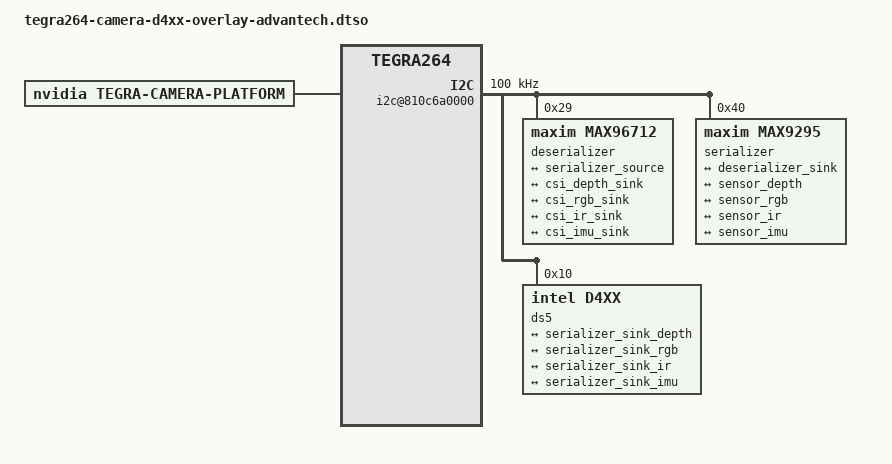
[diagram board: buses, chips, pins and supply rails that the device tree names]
// SPDX-License-Identifier: GPL-2.0-only
// SPDX-FileCopyrightText: Copyright (c) 2018-2023, INTEL CORPORATION.  All rights reserved.

/dts-v1/;
/plugin/;

#include <dt-bindings/gpio/tegra264-gpio.h>

/* camera control gpio definitions */
/ {
	overlay-name = "Jetson RealSense Camera D4xx with max96712 Advantech for Thor";
	jetson-header-name = "Jetson AGX CSI Connector";
	compatible = "nvidia,p4071-0000+p3834-0008", "nvidia,p3834-0008", "nvidia,tegra264";

	fragment@0 {
		target-path = "/";
		__overlay__ {
			tegra-capture-vi {
				ports {
					status = "okay";
					#address-cells = <1>;
					#size-cells = <0>;
					port@0 {
						reg = <0>;
						tegra_vi_depth: endpoint {
							port-index = <0>;
							vc-id = <0>;
							bus-width = <2>;
							remote-endpoint = <&csi_depth_source>;
						};
					};
					port@1 {
						reg = <1>;
						tegra_vi_rgb: endpoint {
							port-index = <1>;
							vc-id = <1>;
							bus-width = <2>;
							remote-endpoint = <&csi_rgb_source>;
						};
					};
					port@2 {
						reg = <2>;
						tegra_vi_ir: endpoint {
							port-index = <2>;
							vc-id = <2>;
							bus-width = <2>;
							remote-endpoint = <&csi_ir_source>;
						};
					};
					port@3 {
						reg = <3>;
						tegra_vi_imu: endpoint {
							port-index = <3>;
							vc-id = <3>;
							bus-width = <2>;
							remote-endpoint = <&csi_imu_source>;
						};
					};
				};
			};

			tegra-camera-platform {
				compatible = "nvidia, tegra-camera-platform";
				status = "okay";
				num_csi_lanes = <2>;
				max_lane_speed = <1500000>;
				min_bits_per_pixel = <8>;
				vi_peak_byte_per_pixel = <2>;
				vi_bw_margin_pct = <25>;
				max_pixel_rate = <160000>;
				isp_peak_byte_per_pixel = <5>;
				isp_bw_margin_pct = <25>;
				modules {
					status = "okay";
					module0 {
						status = "okay";
						badge = "d4xx_Y8";
						position = "left";
						orientation = "1";
						drivernode0 {
							status = "okay";
							pcl_id = "v4l2_sensor";
							devname = "DS5 depth camera";
							sysfs-device-tree = "/sys/firmware/devicetree/base/bus@0/host1x@8181200000/i2c@810c6a0000/ds5@10";
						};
						drivernode1 {
							status = "okay";
							pcl_id = "v4l2_sensor";
							devname = "DS5 color camera";
							sysfs-device-tree = "/sys/firmware/devicetree/base/bus@0/host1x@8181200000/i2c@810c6a0000/ds5@10";
						};
						drivernode2 {
							status = "okay";
							pcl_id = "v4l2_sensor";
							devname = "DS5 infrared camera";
							sysfs-device-tree = "/sys/firmware/devicetree/base/bus@0/host1x@8181200000/i2c@810c6a0000/ds5@10";
						};
						drivernode3 {
							status = "okay";
							pcl_id = "v4l2_sensor";
							devname = "DS5 imu camera";
							sysfs-device-tree = "/sys/firmware/devicetree/base/bus@0/host1x@8181200000/i2c@810c6a0000/ds5@10";
						};
					};
				};
			};

			bus@0 {
				host1x@8181200000 {
					nvcsi@8188000000 {
						num-channels = <4>;
						channel@0 {
							status = "okay";
							reg = <0>;
							ports {
								#address-cells = <1>;
								#size-cells = <0>;
								port@0 {
									reg = <0>;
									csi_depth_sink: endpoint {
										port-index = <0>;
										bus-width = <2>;
										remote-endpoint = <&deserializer_source_depth>;
									};
								};
								port@1 {
									reg = <1>;
									csi_depth_source: endpoint {
										port-index = <1>;
										bus-width = <2>;
										remote-endpoint = <&tegra_vi_depth>;
									};
								};
							};
						};
						channel@1 {
							status = "okay";
							reg = <1>;
							ports {
								#address-cells = <1>;
								#size-cells = <0>;
								port@0 {
									reg = <0>;
									csi_rgb_sink: endpoint {
										port-index = <0>;
										bus-width = <2>;
										remote-endpoint = <&deserializer_source_rgb>;
									};
								};
								port@1 {
									reg = <1>;
									csi_rgb_source: endpoint {
										port-index = <1>;
										bus-width = <2>;
										remote-endpoint = <&tegra_vi_rgb>;
									};
								};
							};
						};
						channel@2 {
							status = "okay";
							reg = <2>;
							ports {
								#address-cells = <1>;
								#size-cells = <0>;
								port@0 {
									reg = <0>;
									csi_ir_sink: endpoint {
										port-index = <0>;
										bus-width = <2>;
										remote-endpoint = <&deserializer_source_ir>;
									};
								};
								port@1 {
									reg = <1>;
									csi_ir_source: endpoint {
										port-index = <1>;
										bus-width = <2>;
										remote-endpoint = <&tegra_vi_ir>;
									};
								};
							};
						};
						channel@3 {
							status = "okay";
							reg = <3>;
							ports {
								#address-cells = <1>;
								#size-cells = <0>;
								port@0 {
									reg = <0>;
									csi_imu_sink: endpoint {
										port-index = <0>;
										bus-width = <2>;
										remote-endpoint = <&deserializer_source_imu>;
									};
								};
								port@1 {
									reg = <1>;
									csi_imu_source: endpoint {
										port-index = <1>;
										bus-width = <2>;
										remote-endpoint = <&tegra_vi_imu>;
									};
								};
							};
						};
					};
				};

				i2c@810c6a0000 {
					status = "okay";
					clock-frequency = <100000>;

					deserializer: max96712@29 {
						status = "okay";
						reg = <0x29>;
						compatible = "maxim,max96712";
						csi-mode = "2x4";
						channel = "a";
						force_clk0;
						ports {
							#address-cells = <1>;
							#size-cells = <0>;
							port@0 {
								reg = <0>;
								deserializer_sink: endpoint {
									port-index = <0>;
									bus-width = <2>;
									remote-endpoint = <&serializer_source>;
								};
							};
							port@1 {
								reg = <1>;
								deserializer_source_depth: endpoint {
									port-index = <1>;
									bus-width = <2>;
									remote-endpoint = <&csi_depth_sink>;
								};
							};
							port@2 {
								reg = <2>;
								deserializer_source_rgb: endpoint {
									port-index = <2>;
									bus-width = <2>;
									remote-endpoint = <&csi_rgb_sink>;
								};
							};
							port@3 {
								reg = <3>;
								deserializer_source_ir: endpoint {
									port-index = <3>;
									bus-width = <2>;
									remote-endpoint = <&csi_ir_sink>;
								};
							};
							port@4 {
								reg = <4>;
								deserializer_source_imu: endpoint {
									port-index = <4>;
									bus-width = <2>;
									remote-endpoint = <&csi_imu_sink>;
								};
							};
						};
					};

					serializer: max9295@40 {
						status = "okay";
						compatible = "maxim,max9295";
						reg = <0x40>;
						csi-mode = "1x4";
						ports {
							#address-cells = <1>;
							#size-cells = <0>;
							port@0 {
								reg = <0>;
								serializer_source: endpoint {
									port-index = <0>;
									bus-width = <2>;
									remote-endpoint = <&deserializer_sink>;
								};
							};
							port@1 {
								reg = <1>;
								serializer_sink_depth: endpoint {
									port-index = <1>;
									bus-width = <2>;
									remote-endpoint = <&sensor_depth>;
								};
							};
							port@2 {
								reg = <2>;
								serializer_sink_rgb: endpoint {
									port-index = <2>;
									bus-width = <2>;
									remote-endpoint = <&sensor_rgb>;
								};
							};
							port@3 {
								reg = <3>;
								serializer_sink_ir: endpoint {
									port-index = <3>;
									bus-width = <2>;
									remote-endpoint = <&sensor_ir>;
								};
							};
							port@4 {
								reg = <4>;
								serializer_sink_imu: endpoint {
									port-index = <4>;
									bus-width = <2>;
									remote-endpoint = <&sensor_imu>;
								};
							};
						};
					};

					ds5@10 {
						status = "okay";
						#address-cells = <1>;
						#size-cells = <0>;
						reg = <0x10>;
						compatible = "intel,d4xx";
						depth: sensor@0 {
							reg = <0>;
							ports {
								#address-cells = <1>;
								#size-cells = <0>;
								port@0 {
									reg = <0>;
									sensor_depth: endpoint {
										port-index = <0>;
										bus-width = <2>;
										remote-endpoint = <&serializer_sink_depth>;
									};
								};
							};
						};
						color: sensor@1 {
							reg = <1>;
							ports {
								#address-cells = <1>;
								#size-cells = <0>;
								port@0 {
									reg = <0>;
									sensor_rgb: endpoint {
										port-index = <0>;
										bus-width = <2>;
										remote-endpoint = <&serializer_sink_rgb>;
									};
								};
							};
						};
						infrared: sensor@2 {
							reg = <2>;
							ports {
								#address-cells = <1>;
								#size-cells = <0>;
								port@0 {
									reg = <0>;
									sensor_ir: endpoint {
										port-index = <0>;
										bus-width = <2>;
										remote-endpoint = <&serializer_sink_ir>;
									};
								};
							};
						};
						imu: sensor@3 {
							reg = <3>;
							ports {
								#address-cells = <1>;
								#size-cells = <0>;
								port@0 {
									reg = <0>;
									sensor_imu: endpoint {
										port-index = <0>;
										bus-width = <2>;
										remote-endpoint = <&serializer_sink_imu>;
									};
								};
							};
						};
					};
				};
			};
		};
	};
};
